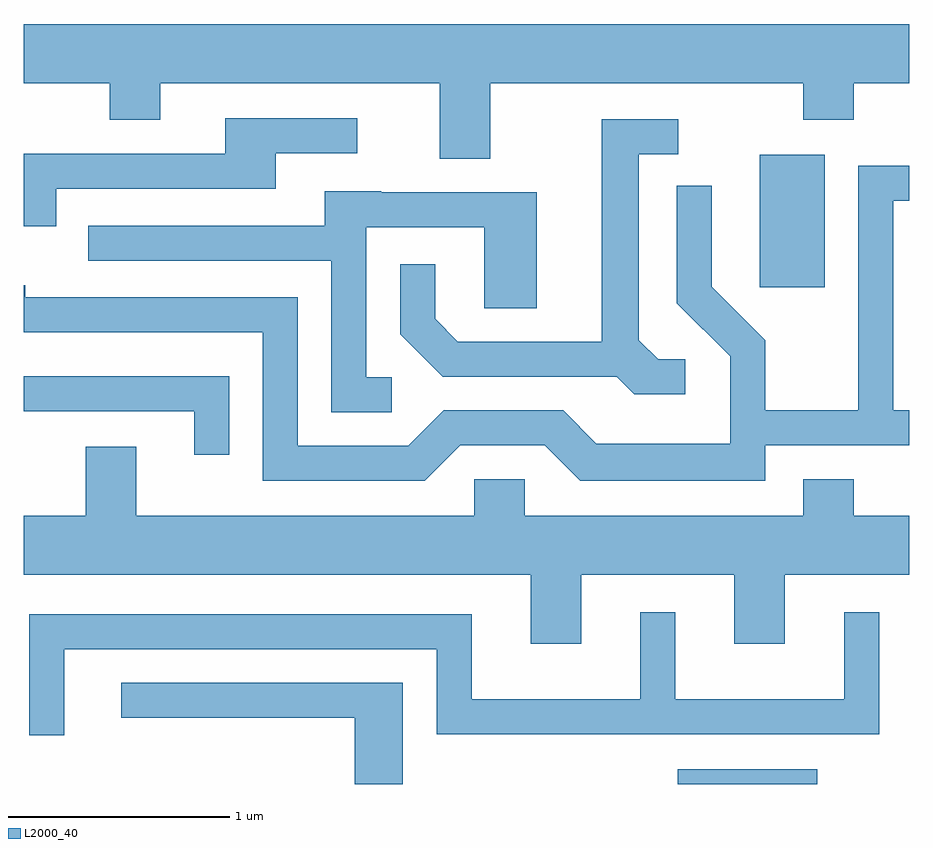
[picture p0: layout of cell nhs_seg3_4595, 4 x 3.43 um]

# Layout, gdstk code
import gdstk
lib = gdstk.Library(unit=1e-6, precision=1e-09)
def R(c, l, rs):  # rectangles x0, y0, x1, y1
    for r in rs: c.add(gdstk.rectangle(r[:2], r[2:], *l))
def P(c, l, *ps):  # polygons
    for p in ps: c.add(gdstk.Polygon(p, *l))
L2000_40 = (2000, 40)

nhs_seg3_4595 = lib.new_cell('nhs_seg3_4595')
R(nhs_seg3_4595, L2000_40, [(322.566,1193.892,323.194,1193.959), (322.936,1196.136,323.229,1196.734)])
P(nhs_seg3_4595, L2000_40, [(321.719,1197.056),(323.131,1197.056),(323.131,1196.891),(323.359,1196.891),(323.359,1197.056),(323.611,1197.056),(323.611,1197.324),(319.611,1197.324),(319.611,1197.056),(320.001,1197.056),(320.001,1196.891),(320.229,1196.891),(320.229,1197.056),(321.491,1197.056),(321.491,1196.716),(321.719,1196.716)],
  [(319.759,1196.581),(320.749,1196.581),(320.749,1196.741),(321.118,1196.741),(321.118,1196.899),(320.521,1196.899),(320.521,1196.739),(319.611,1196.739),(319.611,1196.411),(319.759,1196.411)],
  [(322.598,1195.809),(322.477,1195.809),(322.389,1195.897),(322.389,1196.736),(322.568,1196.736),(322.568,1196.894),(322.221,1196.894),(322.221,1195.889),(321.572,1195.889),(321.469,1195.992),(321.469,1196.238),(321.311,1196.238),(321.311,1195.924),(321.504,1195.731),(322.289,1195.731),(322.369,1195.651),(322.598,1195.651)],
  [(321.582,1195.421),(321.964,1195.421),(322.124,1195.261),(322.959,1195.261),(322.959,1195.421),(323.611,1195.421),(323.611,1195.579),(323.539,1195.579),(323.539,1196.526),(323.611,1196.526),(323.611,1196.684),(323.381,1196.684),(323.381,1195.579),(322.959,1195.579),(322.959,1195.897),(322.719,1196.137),(322.719,1196.593),(322.561,1196.593),(322.561,1196.064),(322.801,1195.824),(322.801,1195.429),(322.197,1195.429),(322.047,1195.579),(321.509,1195.579),(321.349,1195.419),(320.849,1195.419),(320.849,1196.089),(319.619,1196.089),(319.619,1196.144),(319.611,1196.144),(319.611,1195.931),(320.691,1195.931),(320.691,1195.261),(321.422,1195.261)],
  [(321.273,1195.729),(321.159,1195.729),(321.159,1196.406),(321.691,1196.406),(321.691,1196.041),(321.929,1196.041),(321.929,1196.564),(321.225,1196.564),(321.225,1196.569),(320.971,1196.569),(320.971,1196.414),(319.903,1196.414),(319.903,1196.256),(321.001,1196.256),(321.001,1195.571),(321.273,1195.571)],
  [(320.539,1195.734),(319.611,1195.734),(319.611,1195.576),(320.381,1195.576),(320.381,1195.378),(320.539,1195.378)],
  [(322.129,1194.836),(322.821,1194.836),(322.821,1194.526),(323.049,1194.526),(323.049,1194.836),(323.611,1194.836),(323.611,1195.104),(323.359,1195.104),(323.359,1195.269),(323.131,1195.269),(323.131,1195.104),(321.874,1195.104),(321.874,1195.269),(321.646,1195.269),(321.646,1195.104),(320.119,1195.104),(320.119,1195.414),(319.891,1195.414),(319.891,1195.104),(319.611,1195.104),(319.611,1194.836),(321.901,1194.836),(321.901,1194.526),(322.129,1194.526)],
  [(319.794,1194.501),(321.476,1194.501),(321.476,1194.116),(323.474,1194.116),(323.474,1194.668),(323.316,1194.668),(323.316,1194.274),(322.554,1194.274),(322.554,1194.668),(322.396,1194.668),(322.396,1194.274),(321.634,1194.274),(321.634,1194.659),(319.636,1194.659),(319.636,1194.113),(319.794,1194.113)],
  [(321.324,1194.349),(320.053,1194.349),(320.053,1194.191),(321.106,1194.191),(321.106,1193.892),(321.324,1193.892)])

lib.write_gds('nhs_seg3_4595.gds')
